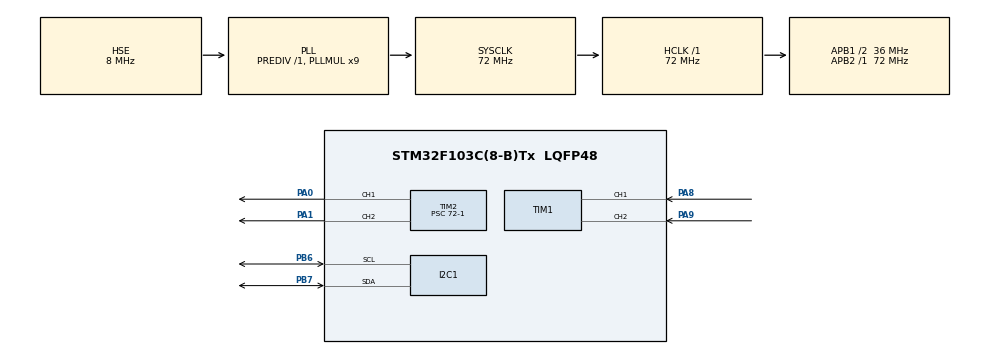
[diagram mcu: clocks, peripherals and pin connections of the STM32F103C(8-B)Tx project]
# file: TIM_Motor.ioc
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Mcu.Family=STM32F1
Mcu.Name=STM32F103C(8-B)Tx
Mcu.Package=LQFP48
NVIC.PriorityGroup=NVIC_PRIORITYGROUP_4
PA0-WKUP.Signal=S_TIM2_CH1_ETR
PA1.Signal=S_TIM2_CH2
PA13.Mode=Serial_Wire
PA13.Signal=SYS_JTMS-SWDIO
PA14.Mode=Serial_Wire
PA14.Signal=SYS_JTCK-SWCLK
PA8.Signal=S_TIM1_CH1
PA9.Signal=S_TIM1_CH2
PB6.Mode=I2C
PB6.Signal=I2C1_SCL
PB7.Mode=I2C
PB7.Signal=I2C1_SDA
PD0-OSC_IN.Mode=HSE-External-Oscillator
PD0-OSC_IN.Signal=RCC_OSC_IN
PD1-OSC_OUT.Mode=HSE-External-Oscillator
PD1-OSC_OUT.Signal=RCC_OSC_OUT
ProjectManager.HeapSize=0x200
ProjectManager.StackSize=0x400
ProjectManager.TargetToolchain=CMake
RCC.AHBFreq_Value=72000000
RCC.APB1CLKDivider=RCC_HCLK_DIV2
RCC.APB1Freq_Value=36000000
RCC.APB1TimFreq_Value=72000000
RCC.APB2Freq_Value=72000000
RCC.APB2TimFreq_Value=72000000
RCC.HCLKFreq_Value=72000000
RCC.PLLMUL=RCC_PLL_MUL9
RCC.PLLSourceVirtual=RCC_PLLSOURCE_HSE
RCC.SYSCLKFreq_VALUE=72000000
RCC.SYSCLKSource=RCC_SYSCLKSOURCE_PLLCLK
RCC.USBFreq_Value=72000000
SH.S_TIM1_CH1.0=TIM1_CH1,Encoder_Interface
SH.S_TIM1_CH2.0=TIM1_CH2,Encoder_Interface
SH.S_TIM2_CH1_ETR.0=TIM2_CH1,PWM Generation1 CH1
SH.S_TIM2_CH2.0=TIM2_CH2,PWM Generation2 CH2
TIM1.IC2Polarity=TIM_ICPOLARITY_RISING
TIM2.Channel-PWM\ Generation1\ CH1=TIM_CHANNEL_1
TIM2.Channel-PWM\ Generation2\ CH2=TIM_CHANNEL_2
TIM2.Period=100-1
TIM2.Prescaler=72-1
board=custom

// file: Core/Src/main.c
/* USER CODE BEGIN Header */
/**
  ******************************************************************************
  * @file           : main.c
  * @brief          : Main program body
  ******************************************************************************
  * @attention
  *
  * Copyright (c) 2026 STMicroelectronics.
  * All rights reserved.
  *
  * This software is licensed under terms that can be found in the LICENSE file
  * in the root directory of this software component.
  * If no LICENSE file comes with this software, it is provided AS-IS.
  *
  ******************************************************************************
  */
/* USER CODE END Header */
#include "main.h"
#include "i2c.h"
#include "tim.h"
#include "gpio.h"

/* USER CODE BEGIN Includes */
#include "drv8833.h"
/* USER CODE END Includes */

/* USER CODE BEGIN PTD */
#define count_MID 20
/* USER CODE END PTD */

void SystemClock_Config(void);

int main(void)
{

  /* MCU Configuration--------------------------------------------------------*/

  /* Reset of all peripherals, Initializes the Flash interface and the Systick. */
  HAL_Init();

  /* Configure the system clock */
  SystemClock_Config();

  /* Initialize all configured peripherals */
  MX_GPIO_Init();
  MX_TIM1_Init();
  MX_TIM2_Init();
  MX_I2C1_Init();
  /* USER CODE BEGIN 2 */
  HAL_TIM_Encoder_Start(&htim1, TIM_CHANNEL_ALL);
  DRV8833_Init();
  __HAL_TIM_SET_COUNTER(&htim1, count_MID);
  int count = 0;
  int speed = 0;
  /* USER CODE END 2 */

  /* Infinite loop */
  /* USER CODE BEGIN WHILE */
  while (1)
  {
    count = __HAL_TIM_GET_COUNTER(&htim1);
    if(count > 6000){
      count = 0;
      __HAL_TIM_SET_COUNTER(&htim1, 0);
    }else if(count > 40){
      count = 40;
      __HAL_TIM_SET_COUNTER(&htim1, 40);
    }
    if(count < count_MID){
      speed = (count_MID - count) * 100 / count_MID;
      DRV8833_Forward(speed);
    }else if(count > count_MID){
      speed = (count - count_MID) * 100 / count_MID;
      DRV8833_Backward(speed);
    }else {
      DRV8833_Brake();
    }
    HAL_Delay(100);

    /* USER CODE END WHILE */

  }
}

void SystemClock_Config(void)
{
  RCC_OscInitTypeDef RCC_OscInitStruct = {0};
  RCC_ClkInitTypeDef RCC_ClkInitStruct = {0};

  /** Initializes the RCC Oscillators according to the specified parameters
  * in the RCC_OscInitTypeDef structure.
  */
  RCC_OscInitStruct.OscillatorType = RCC_OSCILLATORTYPE_HSE;
  RCC_OscInitStruct.HSEState = RCC_HSE_ON;
  RCC_OscInitStruct.HSEPredivValue = RCC_HSE_PREDIV_DIV1;
  RCC_OscInitStruct.HSIState = RCC_HSI_ON;
  RCC_OscInitStruct.PLL.PLLState = RCC_PLL_ON;
  RCC_OscInitStruct.PLL.PLLSource = RCC_PLLSOURCE_HSE;
  RCC_OscInitStruct.PLL.PLLMUL = RCC_PLL_MUL9;
  if (HAL_RCC_OscConfig(&RCC_OscInitStruct) != HAL_OK)
  {
    Error_Handler();
  }

  /** Initializes the CPU, AHB and APB buses clocks
  */
  RCC_ClkInitStruct.ClockType = RCC_CLOCKTYPE_HCLK|RCC_CLOCKTYPE_SYSCLK
                              |RCC_CLOCKTYPE_PCLK1|RCC_CLOCKTYPE_PCLK2;
  RCC_ClkInitStruct.SYSCLKSource = RCC_SYSCLKSOURCE_PLLCLK;
  RCC_ClkInitStruct.AHBCLKDivider = RCC_SYSCLK_DIV1;
  RCC_ClkInitStruct.APB1CLKDivider = RCC_HCLK_DIV2;
  RCC_ClkInitStruct.APB2CLKDivider = RCC_HCLK_DIV1;

  if (HAL_RCC_ClockConfig(&RCC_ClkInitStruct, FLASH_LATENCY_2) != HAL_OK)
  {
    Error_Handler();
  }
}

void Error_Handler(void)
{
  __disable_irq();
  while (1)
  {
  }
}
